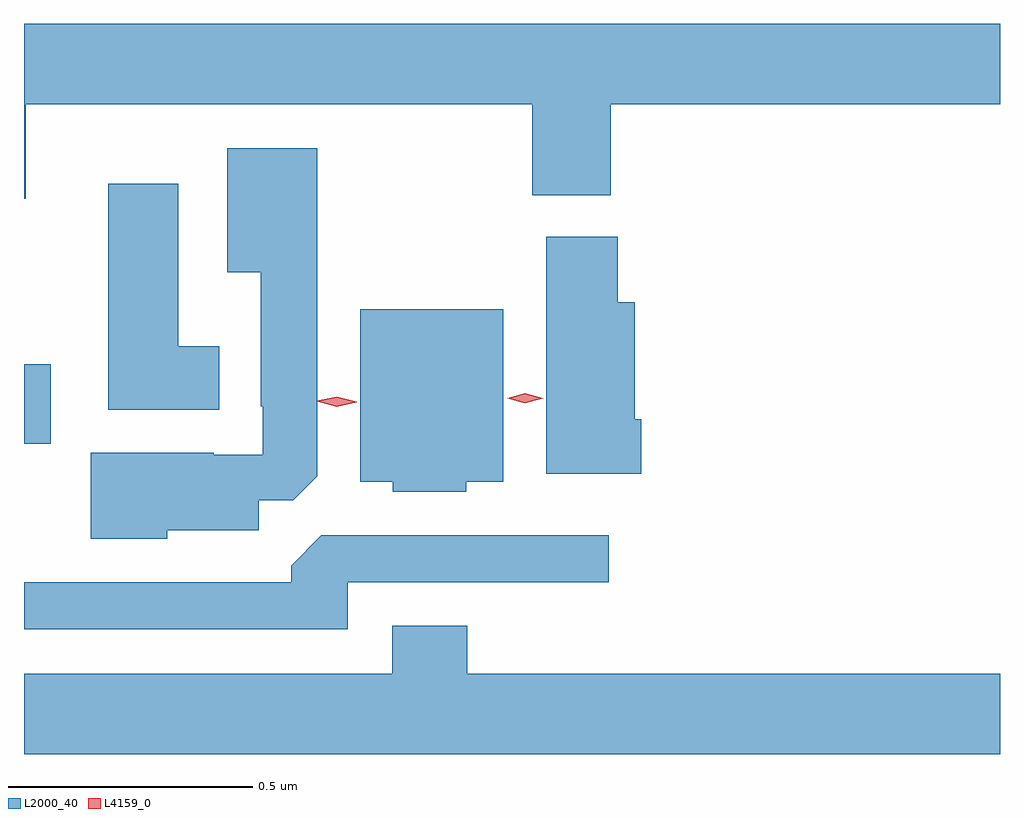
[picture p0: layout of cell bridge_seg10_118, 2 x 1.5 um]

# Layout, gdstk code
import gdstk
lib = gdstk.Library(unit=1e-6, precision=1e-09)
def R(c, l, rs):  # rectangles x0, y0, x1, y1
    for r in rs: c.add(gdstk.rectangle(r[:2], r[2:], *l))
def P(c, l, *ps):  # polygons
    for p in ps: c.add(gdstk.Polygon(p, *l))
L2000_40 = (2000, 40)
L4159_0 = (4159, 0)

bridge_seg10_118 = lib.new_cell('bridge_seg10_118')
R(bridge_seg10_118, L2000_40, [(410.478,1296.956,410.533,1297.119)])
P(bridge_seg10_118, L2000_40, [(410.482,1297.652),(411.52,1297.652),(411.52,1297.465),(411.68,1297.465),(411.68,1297.652),(412.478,1297.652),(412.478,1297.816),(410.478,1297.816),(410.478,1297.458),(410.482,1297.458)],
  [(410.772,1296.779),(410.959,1296.779),(410.959,1296.84),(411.03,1296.84),(411.079,1296.889),(411.079,1297.561),(410.894,1297.561),(410.894,1297.307),(410.963,1297.307),(410.963,1297.033),(410.967,1297.033),(410.967,1296.933),(410.867,1296.933),(410.867,1296.937),(410.615,1296.937),(410.615,1296.761),(410.772,1296.761)],
  [(410.878,1297.156),(410.794,1297.156),(410.794,1297.489),(410.651,1297.489),(410.651,1297.025),(410.878,1297.025)],
  [(411.743,1297.006),(411.73,1297.006),(411.73,1297.246),(411.695,1297.246),(411.695,1297.38),(411.548,1297.38),(411.548,1296.894),(411.743,1296.894)],
  [(411.384,1296.878),(411.46,1296.878),(411.46,1297.231),(411.167,1297.231),(411.167,1296.878),(411.234,1296.878),(411.234,1296.857),(411.384,1296.857)],
  [(411.141,1296.672),(411.676,1296.672),(411.676,1296.768),(411.087,1296.768),(411.026,1296.706),(411.026,1296.672),(410.478,1296.672),(410.478,1296.576),(411.141,1296.576)],
  [(412.478,1296.484),(411.386,1296.484),(411.386,1296.583),(411.233,1296.583),(411.233,1296.484),(410.478,1296.484),(410.478,1296.32),(412.478,1296.32)])
P(bridge_seg10_118, L4159_0, [(411.504,1297.039),(411.468,1297.049),(411.467,1297.049),(411.468,1297.049),(411.504,1297.059),(411.542,1297.049),(411.542,1297.049),(411.542,1297.049)],
  [(411.119,1297.032),(411.078,1297.043),(411.078,1297.043),(411.078,1297.044),(411.119,1297.052),(411.16,1297.042),(411.16,1297.042),(411.16,1297.041)])

lib.write_gds('bridge_seg10_118.gds')
